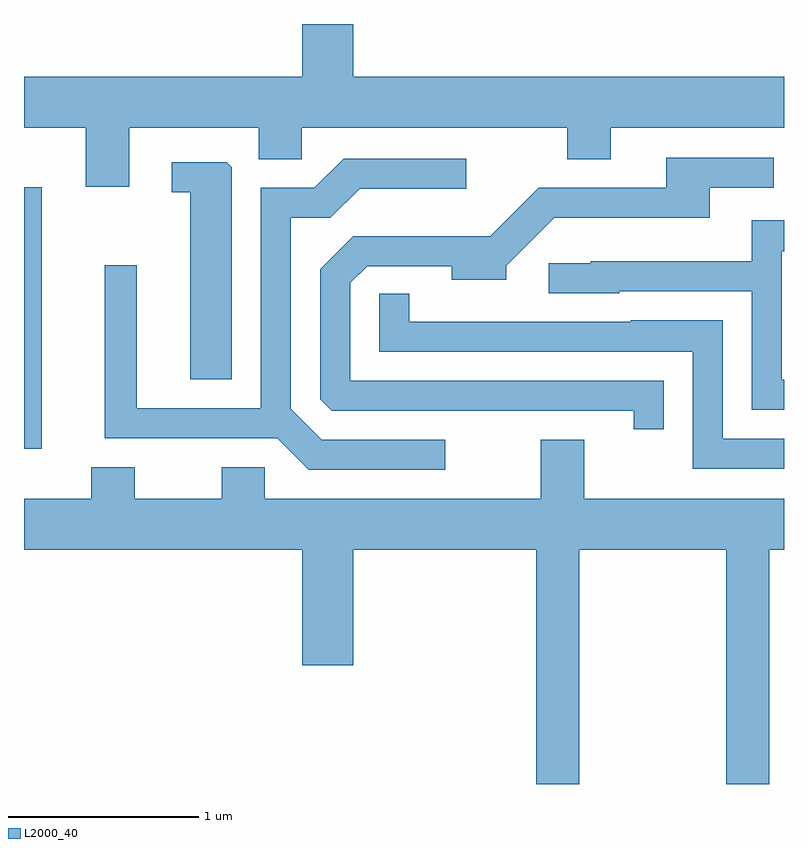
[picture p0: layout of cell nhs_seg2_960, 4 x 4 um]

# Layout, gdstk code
import gdstk
lib = gdstk.Library(unit=1e-6, precision=1e-09)
def R(c, l, rs):  # rectangles x0, y0, x1, y1
    for r in rs: c.add(gdstk.rectangle(r[:2], r[2:], *l))
def P(c, l, *ps):  # polygons
    for p in ps: c.add(gdstk.Polygon(p, *l))
L2000_40 = (2000, 40)

nhs_seg2_960 = lib.new_cell('nhs_seg2_960')
R(nhs_seg2_960, L2000_40, [(213.611,995.566,213.704,996.944)])
P(nhs_seg2_960, L2000_40, [(213.611,997.256),(213.936,997.256),(213.936,996.946),(214.164,996.946),(214.164,997.256),(214.846,997.256),(214.846,997.091),(215.074,997.091),(215.074,997.256),(216.471,997.256),(216.471,997.091),(216.699,997.091),(216.699,997.256),(217.611,997.256),(217.611,997.524),(215.344,997.524),(215.344,997.802),(215.076,997.802),(215.076,997.524),(213.611,997.524)],
  [(216.979,995.924),(215.329,995.924),(215.329,996.439),(215.417,996.526),(215.861,996.526),(215.861,996.456),(216.149,996.456),(216.149,996.529),(216.402,996.781),(217.219,996.781),(217.219,996.941),(217.558,996.941),(217.558,997.099),(216.991,997.099),(216.991,996.939),(216.319,996.939),(216.064,996.684),(215.344,996.684),(215.171,996.512),(215.171,995.827),(215.232,995.766),(216.821,995.766),(216.821,995.668),(216.979,995.668)],
  [(215.828,995.614),(215.177,995.614),(215.014,995.777),(215.014,996.781),(215.222,996.781),(215.377,996.936),(215.938,996.936),(215.938,997.094),(215.294,997.094),(215.139,996.939),(214.856,996.939),(214.856,995.779),(214.204,995.779),(214.204,996.533),(214.036,996.533),(214.036,995.621),(214.944,995.621),(215.109,995.456),(215.828,995.456)],
  [(214.704,997.049),(214.679,997.074),(214.388,997.074),(214.388,996.916),(214.486,996.916),(214.486,995.931),(214.704,995.931)],
  [(217.611,995.929),(217.599,995.929),(217.599,996.606),(217.611,996.606),(217.611,996.769),(217.441,996.769),(217.441,996.554),(216.595,996.554),(216.595,996.544),(216.373,996.544),(216.373,996.386),(216.745,996.386),(216.745,996.396),(217.441,996.396),(217.441,995.771),(217.611,995.771)],
  [(217.611,995.619),(217.289,995.619),(217.289,996.244),(216.805,996.244),(216.805,996.234),(215.639,996.234),(215.639,996.383),(215.481,996.383),(215.481,996.076),(217.131,996.076),(217.131,995.461),(217.611,995.461)],
  [(216.534,995.036),(217.306,995.036),(217.306,993.802),(217.534,993.802),(217.534,995.036),(217.611,995.036),(217.611,995.304),(216.559,995.304),(216.559,995.614),(216.331,995.614),(216.331,995.304),(214.879,995.304),(214.879,995.469),(214.651,995.469),(214.651,995.304),(214.194,995.304),(214.194,995.469),(213.966,995.469),(213.966,995.304),(213.611,995.304),(213.611,995.036),(215.076,995.036),(215.076,994.426),(215.344,994.426),(215.344,995.036),(216.306,995.036),(216.306,993.802),(216.534,993.802)])

lib.write_gds('nhs_seg2_960.gds')
